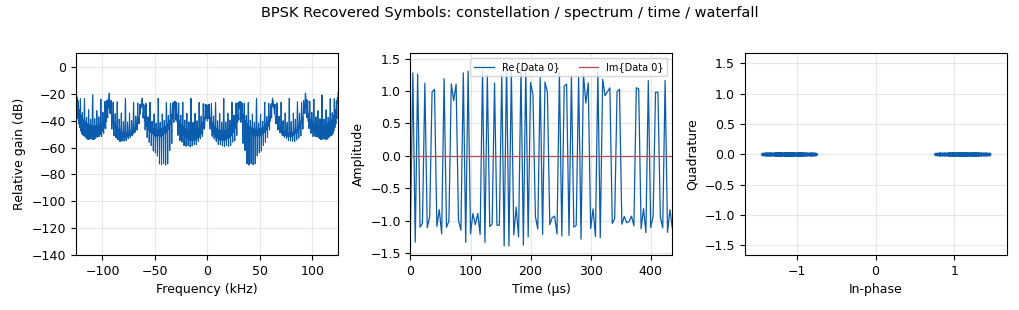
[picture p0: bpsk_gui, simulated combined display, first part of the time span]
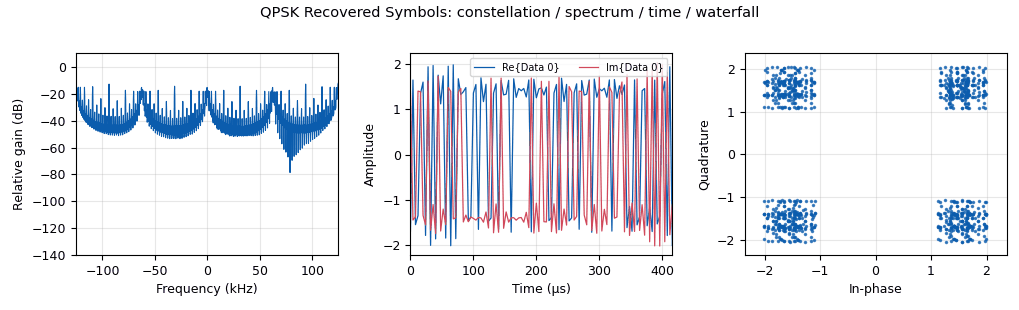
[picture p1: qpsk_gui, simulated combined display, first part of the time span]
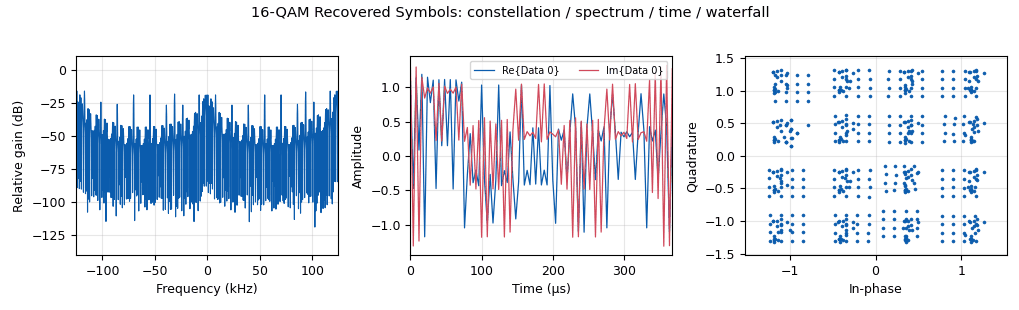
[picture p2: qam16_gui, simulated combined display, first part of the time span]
options:
  parameters:
    author: Mohit Sharma
    category: '[Custom]'
    comment: Compare BPSK, QPSK and 16-QAM digital constellation modulation and symbol decoding under a software channel model.
    description: 'Parallel digital constellation lab: BPSK, QPSK and 16-QAM; synthetic bytes, channel-noise control, timing recovery and constellation visualization.'
    generate_options: qt_gui
    id: digital_modulation_comparison_lab
    output_language: python
    placement: (0, 0)
    title: SDR Modulation & Demodulation Toolkit - BPSK QPSK 16-QAM
  states: {}

blocks:
- name: fs
  id: variable
  parameters:
    value: 1e6
    comment: Complex baseband sample rate in samples per second.
  states: {}
- name: sps
  id: variable
  parameters:
    value: '4'
    comment: Samples per symbol for all three branches.
  states: {}
- name: rolloff
  id: variable
  parameters:
    value: '0.35'
    comment: RRC pulse-shaping roll-off factor.
  states: {}
- name: noise
  id: variable
  parameters:
    value: '0.0'
    comment: Channel Model noise voltage; start at zero and raise gradually.
  states: {}
- name: bpsk
  id: variable
  parameters:
    value: digital.constellation_bpsk().base()
    comment: BPSK constellation object.
  states: {}
- name: qpsk
  id: variable
  parameters:
    value: digital.constellation_qpsk().base()
    comment: QPSK constellation object.
  states: {}
- name: qam16
  id: variable
  parameters:
    value: digital.constellation_16qam().base()
    comment: 16-QAM constellation object.
  states: {}
- name: test_bytes
  id: blocks_vector_source_x
  parameters:
    comment: Deterministic byte sequence repeated continuously; no external file required.
    repeat: 'True'
    type: byte
    vector: '[0, 1, 2, 3, 4, 5, 6, 7, 8, 9, 10, 11, 12, 13, 14, 15, 16, 17, 18, 19, 20, 21, 22, 23, 24, 25, 26, 27, 28, 29, 30, 31, 32, 33, 34, 35, 36, 37, 38, 39, 40, 41, 42, 43, 44, 45, 46, 47, 48, 49, 50, 51, 52, 53, 54, 55, 56, 57, 58, 59, 60, 61, 62, 63, 64, 65, 66, 67, 68, 69, 70, 71, 72, 73, 74, 75, 76, 77, 78, 79, 80, 81, 82, 83, 84, 85, 86, 87, 88, 89, 90, 91, 92, 93, 94, 95, 96, 97, 98, 99, 100, 101, 102, 103, 104, 105, 106, 107, 108, 109, 110, 111, 112, 113, 114, 115, 116, 117, 118, 119, 120, 121, 122, 123, 124, 125, 126, 127, 128, 129, 130, 131, 132, 133, 134, 135, 136, 137, 138, 139, 140, 141, 142, 143, 144, 145, 146, 147, 148, 149, 150, 151, 152, 153, 154, 155, 156, 157, 158, 159, 160, 161, 162, 163, 164, 165, 166, 167, 168, 169, 170, 171, 172, 173, 174, 175, 176, 177, 178, 179, 180, 181, 182, 183, 184, 185, 186, 187, 188, 189, 190, 191, 192, 193, 194, 195, 196, 197, 198, 199, 200, 201, 202, 203, 204, 205, 206, 207, 208, 209, 210, 211, 212, 213, 214, 215, 216, 217, 218, 219, 220, 221, 222, 223, 224, 225, 226, 227, 228, 229, 230, 231, 232, 233, 234, 235, 236, 237, 238, 239, 240, 241, 242, 243, 244, 245, 246, 247, 248, 249, 250, 251, 252, 253, 254, 255]'
  states: {}
- name: bpsk_mod
  id: digital_constellation_modulator
  parameters:
    comment: BPSK transmitter with RRC pulse shaping.
    constellation: bpsk
    differential: 'False'
    rolloff: rolloff
    samples_per_symbol: sps
  states: {}
- name: bpsk_channel
  id: channels_channel_model
  parameters:
    comment: BPSK channel. Frequency offset disabled for baseline decoding.
    epsilon: '1.0'
    freq_offset: '0.0'
    seed: '2026'
    taps: '[1.0]'
    noise_voltage: noise
  states: {}
- name: bpsk_throttle
  id: blocks_throttle2
  parameters:
    comment: Limit software-only processing rate; no RF hardware.
    samples_per_second: fs
    type: complex
  states: {}
- name: bpsk_sync
  id: digital_symbol_sync_xx
  parameters:
    comment: BPSK symbol timing recovery; tune loop parameters if required.
    constellation: bpsk
    damping: '0.707107'
    loop_bw: '0.00628318'
    max_dev: '1.5'
    nfilters: '32'
    osps: '1'
    resamp_type: digital.IR_MMSE_8TAP
    sps: sps
    ted_gain: '1.0'
    ted_type: digital.TED_GARDNER
    type: cc
  states: {}
- name: bpsk_decoder
  id: digital_constellation_decoder_cb
  parameters:
    comment: BPSK constellation decision / symbol decoder.
    constellation: bpsk
  states: {}
- name: bpsk_null
  id: blocks_null_sink
  parameters:
    comment: Consumes decoded symbol indexes. This graph does not perform byte framing or BER measurement.
    type: byte
  states: {}
- name: bpsk_gui
  id: qtgui_sink_x
  parameters:
    comment: Visual monitor for BPSK symbols after timing recovery.
    bw: fs/sps
    fc: '0'
    fftsize: '1024'
    name: '''BPSK Recovered Symbols: constellation / spectrum / time / waterfall'''
    type: complex
    wintype: window.WIN_HAMMING
  states: {}
- name: qpsk_mod
  id: digital_constellation_modulator
  parameters:
    comment: QPSK transmitter with RRC pulse shaping.
    constellation: qpsk
    differential: 'False'
    rolloff: rolloff
    samples_per_symbol: sps
  states: {}
- name: qpsk_channel
  id: channels_channel_model
  parameters:
    comment: QPSK channel. Frequency offset disabled for baseline decoding.
    epsilon: '1.0'
    freq_offset: '0.0'
    seed: '2027'
    taps: '[1.0]'
    noise_voltage: noise
  states: {}
- name: qpsk_throttle
  id: blocks_throttle2
  parameters:
    comment: Limit software-only processing rate; no RF hardware.
    samples_per_second: fs
    type: complex
  states: {}
- name: qpsk_sync
  id: digital_symbol_sync_xx
  parameters:
    comment: QPSK symbol timing recovery; tune loop parameters if required.
    constellation: qpsk
    damping: '0.707107'
    loop_bw: '0.00628318'
    max_dev: '1.5'
    nfilters: '32'
    osps: '1'
    resamp_type: digital.IR_MMSE_8TAP
    sps: sps
    ted_gain: '1.0'
    ted_type: digital.TED_GARDNER
    type: cc
  states: {}
- name: qpsk_decoder
  id: digital_constellation_decoder_cb
  parameters:
    comment: QPSK constellation decision / symbol decoder.
    constellation: qpsk
  states: {}
- name: qpsk_null
  id: blocks_null_sink
  parameters:
    comment: Consumes decoded symbol indexes. This graph does not perform byte framing or BER measurement.
    type: byte
  states: {}
- name: qpsk_gui
  id: qtgui_sink_x
  parameters:
    comment: Visual monitor for QPSK symbols after timing recovery.
    bw: fs/sps
    fc: '0'
    fftsize: '1024'
    name: '''QPSK Recovered Symbols: constellation / spectrum / time / waterfall'''
    type: complex
    wintype: window.WIN_HAMMING
  states: {}
- name: qam16_mod
  id: digital_constellation_modulator
  parameters:
    comment: 16-QAM transmitter with RRC pulse shaping.
    constellation: qam16
    differential: 'False'
    rolloff: rolloff
    samples_per_symbol: sps
  states: {}
- name: qam16_channel
  id: channels_channel_model
  parameters:
    comment: 16-QAM channel. Frequency offset disabled for baseline decoding.
    epsilon: '1.0'
    freq_offset: '0.0'
    seed: '2028'
    taps: '[1.0]'
    noise_voltage: noise
  states: {}
- name: qam16_throttle
  id: blocks_throttle2
  parameters:
    comment: Limit software-only processing rate; no RF hardware.
    samples_per_second: fs
    type: complex
  states: {}
- name: qam16_sync
  id: digital_symbol_sync_xx
  parameters:
    comment: 16-QAM symbol timing recovery; tune loop parameters if required.
    constellation: qam16
    damping: '0.707107'
    loop_bw: '0.00628318'
    max_dev: '1.5'
    nfilters: '32'
    osps: '1'
    resamp_type: digital.IR_MMSE_8TAP
    sps: sps
    ted_gain: '1.0'
    ted_type: digital.TED_GARDNER
    type: cc
  states: {}
- name: qam16_decoder
  id: digital_constellation_decoder_cb
  parameters:
    comment: 16-QAM constellation decision / symbol decoder.
    constellation: qam16
  states: {}
- name: qam16_null
  id: blocks_null_sink
  parameters:
    comment: Consumes decoded symbol indexes. This graph does not perform byte framing or BER measurement.
    type: byte
  states: {}
- name: qam16_gui
  id: qtgui_sink_x
  parameters:
    comment: Visual monitor for 16-QAM symbols after timing recovery.
    bw: fs/sps
    fc: '0'
    fftsize: '1024'
    name: '''16-QAM Recovered Symbols: constellation / spectrum / time / waterfall'''
    type: complex
    wintype: window.WIN_HAMMING
  states: {}

connections:
- [test_bytes, '0', bpsk_mod, '0']
- [bpsk_mod, '0', bpsk_channel, '0']
- [bpsk_channel, '0', bpsk_throttle, '0']
- [bpsk_throttle, '0', bpsk_sync, '0']
- [bpsk_sync, '0', bpsk_gui, '0']
- [bpsk_sync, '0', bpsk_decoder, '0']
- [bpsk_decoder, '0', bpsk_null, '0']
- [test_bytes, '0', qpsk_mod, '0']
- [qpsk_mod, '0', qpsk_channel, '0']
- [qpsk_channel, '0', qpsk_throttle, '0']
- [qpsk_throttle, '0', qpsk_sync, '0']
- [qpsk_sync, '0', qpsk_gui, '0']
- [qpsk_sync, '0', qpsk_decoder, '0']
- [qpsk_decoder, '0', qpsk_null, '0']
- [test_bytes, '0', qam16_mod, '0']
- [qam16_mod, '0', qam16_channel, '0']
- [qam16_channel, '0', qam16_throttle, '0']
- [qam16_throttle, '0', qam16_sync, '0']
- [qam16_sync, '0', qam16_gui, '0']
- [qam16_sync, '0', qam16_decoder, '0']
- [qam16_decoder, '0', qam16_null, '0']

metadata:
  file_format: 1
  grc_version: 3.10.12.0
